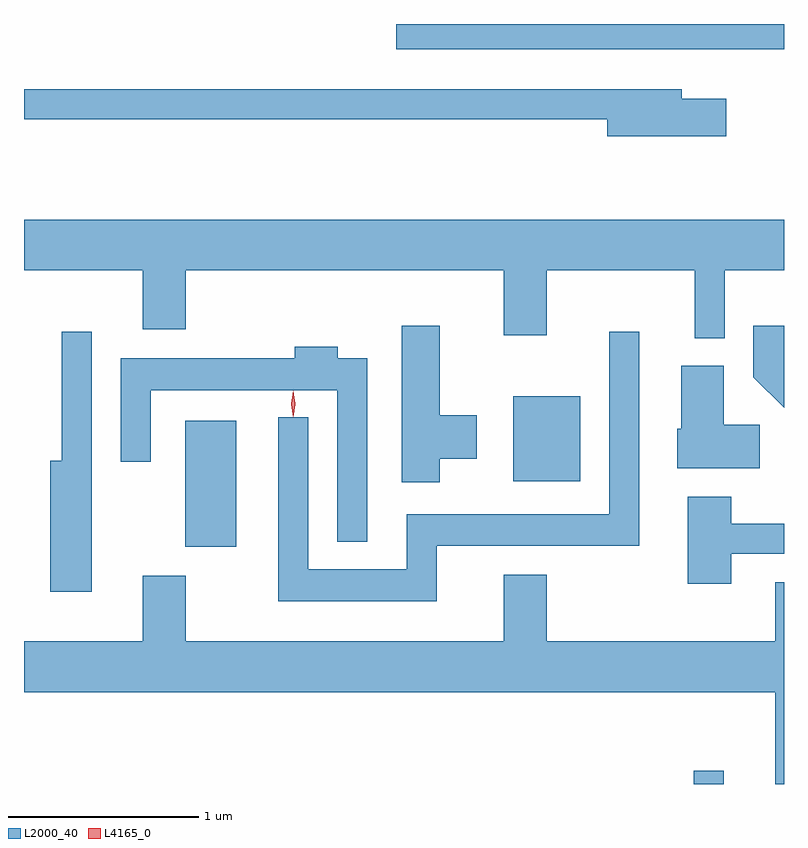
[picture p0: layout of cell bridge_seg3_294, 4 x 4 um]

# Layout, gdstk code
import gdstk
lib = gdstk.Library(unit=1e-6, precision=1e-09)
def R(c, l, rs):  # rectangles x0, y0, x1, y1
    for r in rs: c.add(gdstk.rectangle(r[:2], r[2:], *l))
def P(c, l, *ps):  # polygons
    for p in ps: c.add(gdstk.Polygon(p, *l))
L2000_40 = (2000, 40)
L4165_0 = (4165, 0)

bridge_seg3_294 = lib.new_cell('bridge_seg3_294')
R(bridge_seg3_294, L2000_40, [(584.611,1194.353,584.769,1194.423), (581.936,1195.601,582.204,1196.264), (583.661,1195.946,584.014,1196.394), (583.046,1198.221,585.087,1198.353)])
P(bridge_seg3_294, L2000_40, [(584.784,1197.959),(584.549,1197.959),(584.549,1198.009),(581.087,1198.009),(581.087,1197.851),(584.156,1197.851),(584.156,1197.761),(584.784,1197.761)],
  [(584.774,1197.056),(585.087,1197.056),(585.087,1197.324),(581.087,1197.324),(581.087,1197.056),(581.711,1197.056),(581.711,1196.746),(581.939,1196.746),(581.939,1197.056),(583.611,1197.056),(583.611,1196.716),(583.839,1196.716),(583.839,1197.056),(584.616,1197.056),(584.616,1196.698),(584.774,1196.698)],
  [(583.274,1196.066),(583.469,1196.066),(583.469,1196.294),(583.274,1196.294),(583.274,1196.764),(583.076,1196.764),(583.076,1195.941),(583.274,1195.941)],
  [(585.087,1196.764),(584.926,1196.764),(584.926,1196.494),(585.087,1196.333)],
  [(583.259,1195.606),(584.324,1195.606),(584.324,1196.733),(584.166,1196.733),(584.166,1195.774),(583.101,1195.774),(583.101,1195.484),(582.584,1195.484),(582.584,1196.283),(582.426,1196.283),(582.426,1195.316),(583.259,1195.316)],
  [(581.444,1196.733),(581.286,1196.733),(581.286,1196.054),(581.226,1196.054),(581.226,1195.366),(581.444,1195.366)],
  [(582.894,1196.594),(582.739,1196.594),(582.739,1196.654),(582.511,1196.654),(582.511,1196.594),(581.596,1196.594),(581.596,1196.048),(581.754,1196.048),(581.754,1196.426),(582.736,1196.426),(582.736,1195.628),(582.894,1195.628)],
  [(584.959,1196.244),(584.769,1196.244),(584.769,1196.554),(584.546,1196.554),(584.546,1196.224),(584.526,1196.224),(584.526,1196.016),(584.959,1196.016)],
  [(584.809,1195.566),(585.087,1195.566),(585.087,1195.724),(584.809,1195.724),(584.809,1195.864),(584.581,1195.864),(584.581,1195.406),(584.809,1195.406)],
  [(585.087,1195.414),(585.041,1195.414),(585.041,1195.104),(583.839,1195.104),(583.839,1195.454),(583.611,1195.454),(583.611,1195.104),(581.939,1195.104),(581.939,1195.449),(581.711,1195.449),(581.711,1195.104),(581.087,1195.104),(581.087,1194.836),(585.041,1194.836),(585.041,1194.353),(585.087,1194.353)])
P(bridge_seg3_294, L4165_0, [(582.504,1196.284),(582.504,1196.284),(582.494,1196.353),(582.504,1196.422),(582.504,1196.423),(582.505,1196.422),(582.514,1196.353),(582.505,1196.284)],
  [(582.504,1196.287),(582.504,1196.288),(582.494,1196.354),(582.504,1196.42),(582.504,1196.421),(582.505,1196.42),(582.514,1196.354),(582.505,1196.288)])

lib.write_gds('bridge_seg3_294.gds')
